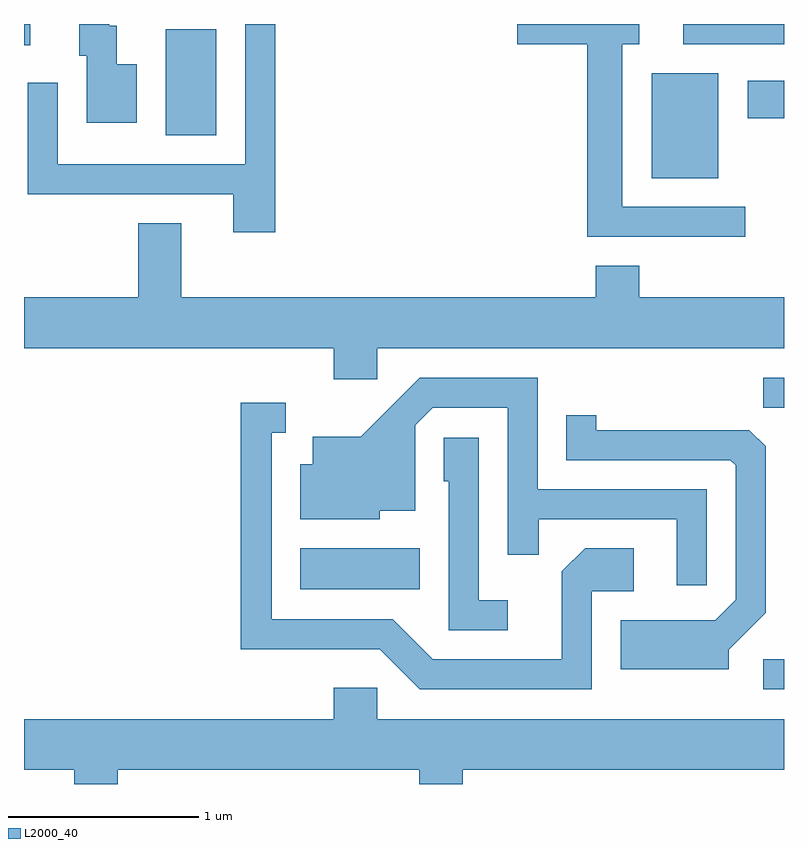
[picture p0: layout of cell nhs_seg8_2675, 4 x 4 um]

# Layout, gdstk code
import gdstk
lib = gdstk.Library(unit=1e-6, precision=1e-09)
def R(c, l, rs):  # rectangles x0, y0, x1, y1
    for r in rs: c.add(gdstk.rectangle(r[:2], r[2:], *l))
def P(c, l, *ps):  # polygons
    for p in ps: c.add(gdstk.Polygon(p, *l))
L2000_40 = (2000, 40)

nhs_seg8_2675 = lib.new_cell('nhs_seg8_2675')
R(nhs_seg8_2675, L2000_40, [(269.503,1836.841,269.611,1836.999), (267.066,1837.366,267.694,1837.584), (269.503,1838.321,269.611,1838.479), (268.916,1839.531,269.264,1840.084), (266.356,1839.756,266.624,1840.314), (269.421,1839.846,269.611,1840.044), (265.611,1840.231,265.643,1840.342), (269.081,1840.236,269.611,1840.342)])
P(nhs_seg8_2675, L2000_40, [(266.204,1840.129),(266.099,1840.129),(266.099,1840.334),(266.059,1840.334),(266.059,1840.342),(265.901,1840.342),(265.901,1840.176),(265.941,1840.176),(265.941,1839.821),(266.204,1839.821)],
  [(266.934,1840.342),(266.776,1840.342),(266.776,1839.604),(265.789,1839.604),(265.789,1840.033),(265.631,1840.033),(265.631,1839.446),(266.711,1839.446),(266.711,1839.246),(266.934,1839.246)],
  [(269.408,1839.379),(268.759,1839.379),(268.759,1840.236),(268.849,1840.236),(268.849,1840.342),(268.206,1840.342),(268.206,1840.236),(268.576,1840.236),(268.576,1839.221),(269.408,1839.221)],
  [(267.469,1838.636),(269.611,1838.636),(269.611,1838.904),(268.849,1838.904),(268.849,1839.069),(268.621,1839.069),(268.621,1838.904),(266.439,1838.904),(266.439,1839.294),(266.211,1839.294),(266.211,1838.904),(265.611,1838.904),(265.611,1838.636),(267.241,1838.636),(267.241,1838.471),(267.469,1838.471)],
  [(269.204,1837.894),(268.314,1837.894),(268.314,1838.479),(267.694,1838.479),(267.384,1838.169),(267.131,1838.169),(267.131,1838.024),(267.066,1838.024),(267.066,1837.736),(267.484,1837.736),(267.484,1837.781),(267.669,1837.781),(267.669,1838.229),(267.762,1838.321),(268.156,1838.321),(268.156,1837.548),(268.319,1837.548),(268.319,1837.736),(269.046,1837.736),(269.046,1837.388),(269.204,1837.388)],
  [(268.599,1837.356),(268.819,1837.356),(268.819,1837.584),(268.564,1837.584),(268.441,1837.462),(268.441,1836.999),(267.762,1836.999),(267.552,1837.209),(266.914,1837.209),(266.914,1838.191),(266.988,1838.191),(266.988,1838.349),(266.751,1838.349),(266.751,1837.051),(267.484,1837.051),(267.694,1836.841),(268.599,1836.841)],
  [(269.319,1837.049),(269.514,1837.244),(269.514,1838.119),(269.429,1838.204),(268.624,1838.204),(268.624,1838.283),(268.466,1838.283),(268.466,1838.046),(269.329,1838.046),(269.356,1838.019),(269.356,1837.312),(269.249,1837.204),(268.751,1837.204),(268.751,1836.946),(269.319,1836.946)],
  [(268.158,1837.309),(268.004,1837.309),(268.004,1838.164),(267.821,1838.164),(267.821,1837.936),(267.846,1837.936),(267.846,1837.151),(268.158,1837.151)],
  [(266.104,1836.416),(267.691,1836.416),(267.691,1836.342),(267.919,1836.342),(267.919,1836.416),(269.611,1836.416),(269.611,1836.684),(267.469,1836.684),(267.469,1836.849),(267.241,1836.849),(267.241,1836.684),(265.611,1836.684),(265.611,1836.416),(265.876,1836.416),(265.876,1836.342),(266.104,1836.342)])

lib.write_gds('nhs_seg8_2675.gds')
